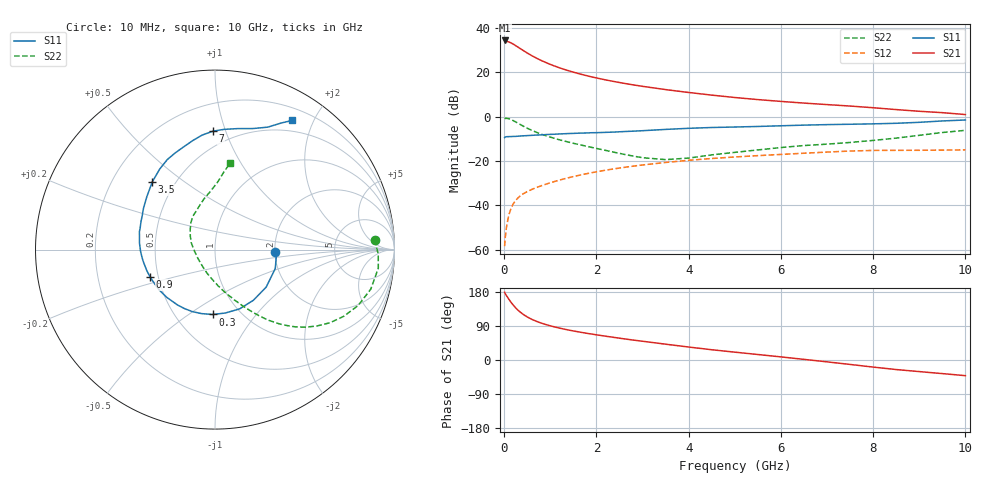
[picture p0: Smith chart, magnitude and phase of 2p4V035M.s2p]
! (c) 2009  Infineon Technologies AG, Munich
! Infineon Technologies  Discrete & RF Semiconductors
! BFP420
! VCE =  4.0 V,  IC =  35 mA
! Common Emitter S-Parameters:  Nov 2009
# GHz  S  MA  R  50
!  f  S11  S21  S12  S22
! GHz  MAG  ANG  MAG  ANG  MAG  ANG  MAG  ANG
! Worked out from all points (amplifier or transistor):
!   46 points, 10 MHz to 10 GHz, reference 50 ohm
!   highest |S21| = 34.3 dB at 10 MHz (marker M1)
!   |S21| within 3 dB of that: start of sweep to 300.4 MHz
!   unconditionally stable (mu >= 1): start of sweep to 19.75 MHz; 1.485 GHz to end of sweep
!   at 300 MHz: K = 0.46, MSG = 34.0 dB, |S12| = -36.7 dB
!   at 1.7 GHz: K = 1.04, MAG = 21.4 dB, |S12| = -26.1 dB
!   at 10 GHz: K = 1.06, MAG = 6.5 dB, |S12| = -15.0 dB
!   lowest NFmin = 1.64 dB at 900 MHz
!   S11 on the Smith chart (normalised r, x): 10 MHz: 2.01, -0.05; 300 MHz: 0.75, -0.63; 900 MHz: 0.45, -0.16; 3.5 GHz: 0.37, +0.38; 7 GHz: 0.39, +0.90; 10 GHz: 0.35, +1.71
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0.01  0.3361 -2.0  52 178.8  0.0012 67.8  0.8916 3.5
0.02  0.3438 -6.8  50.57 175.6  0.0017 74.5  0.9099 -1.6
0.05  0.352 -17.4  49.84 170.0  0.0032 72.2  0.9158 -6.5
0.1  0.3536 -36.3  48.3 160.7  0.006 73.6  0.8953 -14.3
0.15  0.3542 -53.0  45.75 152.1  0.0086 71.0  0.8563 -21.3
0.2  0.3576 -67.6  42.86 144.5  0.0109 68.4  0.8088 -27.3
0.25  0.3579 -80.7  39.71 137.5  0.0129 66.1  0.7588 -32.5
0.3  0.3618 -92.0  36.84 131.5  0.0147 64.3  0.7092 -36.9
0.4  0.3679 -110.2  31.52 121.6  0.0178 61.8  0.6207 -43.9
0.5  0.3725 -124.1  27.13 113.7  0.0204 60.5  0.5475 -49.1
0.6  0.378 -135.1  23.61 107.3  0.0228 59.8  0.4893 -53.2
0.7  0.3834 -143.8  20.79 102.1  0.0252 59.7  0.4423 -56.4
0.9  0.3925 -157.2  16.61 93.7  0.0298 59.7  0.3721 -61.7
1.1  0.4011 -167.2  13.71 87.1  0.0346 59.7  0.3211 -66.5
1.3  0.4102 -175.2  11.61 81.5  0.0395 59.3  0.2819 -71.1
1.7  0.4251 171.9  8.823 72.4  0.0494 57.7  0.2244 -80.4
2.4  0.4485 154.4  6.121 59.3  0.0668 52.7  0.1559 -99.6
3.5  0.5139 132.9  4.062 41.7  0.0925 42.9  0.1072 -152.1
5.5  0.5987 106.9  2.417 14.5  0.1317 24.0  0.1772 141.3
7  0.6593 91.2  1.864 -4.9  0.1586 9.8  0.2392 115.9
8.5  0.7063 72.7  1.438 -25.2  0.1735 -7.3  0.3272 94.2
10  0.8388 59.1  1.112 -41.3  0.1777 -18.7  0.4895 80.0
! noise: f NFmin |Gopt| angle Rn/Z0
0.9  1.64  0.3  -155  0.13
1.8  1.9  0.37  -142  0.15
2.4  2.1  0.34  -134  0.19
3  2.11  0.4  -126  0.22
4  2.25  0.5  -110  0.35
5  2.73  0.54  -94  0.59
6  3.16  0.59  -82  0.84
